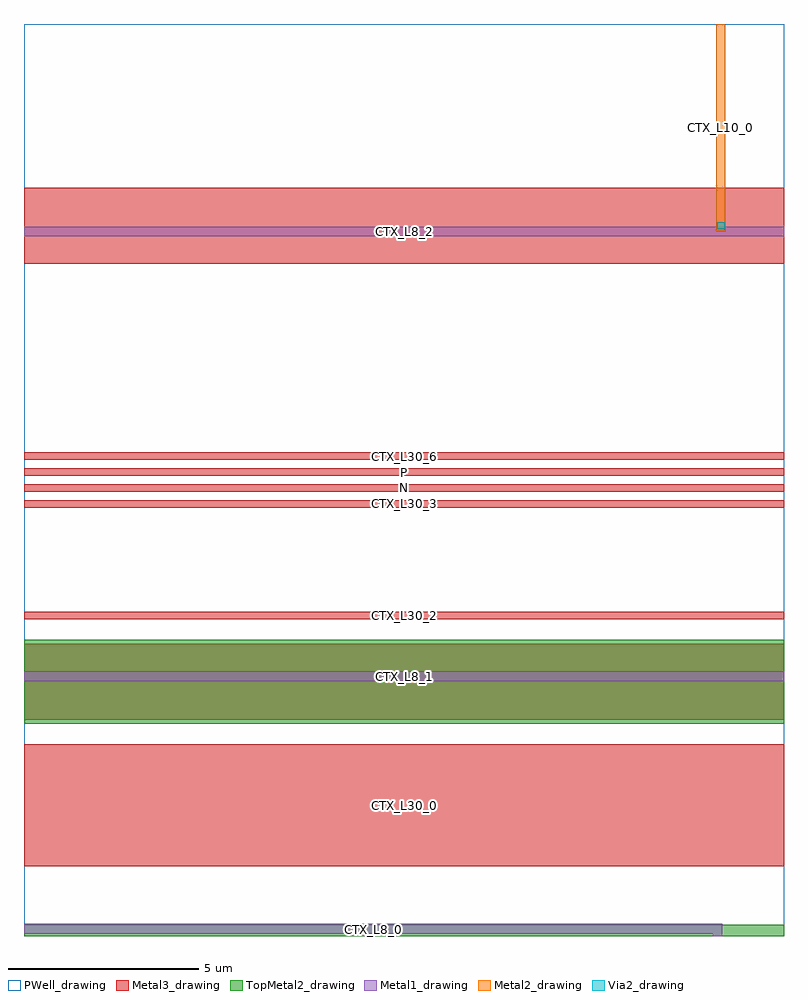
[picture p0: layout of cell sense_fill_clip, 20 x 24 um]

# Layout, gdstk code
import gdstk
lib = gdstk.Library(unit=1e-6, precision=1e-09)
def R(c, l, rs):  # rectangles x0, y0, x1, y1
    for r in rs: c.add(gdstk.rectangle(r[:2], r[2:], *l))
def A(c, l, x, y, w, h, nx, ny, dx, dy):  # array of equal rectangles
    R(c, l, [(x+i*dx, y+j*dy, x+i*dx+w, y+j*dy+h) for i in range(nx) for j in range(ny)])
def P(c, l, *ps):  # polygons
    for p in ps: c.add(gdstk.Polygon(p, *l))
Metal1_drawing = (8, 0)
Metal2_drawing = (10, 0)
Via2_drawing = (29, 0)
Metal3_drawing = (30, 0)
PWell_drawing = (46, 0)
TopMetal2_drawing = (134, 0)

sense_fill_clip = lib.new_cell('sense_fill_clip')
R(sense_fill_clip, Metal1_drawing, [(844.16,942.02,864.16,942.28), (844.16,953.72,864.16,953.98)])
P(sense_fill_clip, Metal1_drawing, [(862.28,935.31),(862.28,935.37),(844.16,935.37),(844.16,935.63),(862.54,935.63),(862.54,935.31)])
R(sense_fill_clip, Metal2_drawing, [(862.38,953.85,862.62,959.31)])
R(sense_fill_clip, Via2_drawing, [(862.405,953.905,862.595,954.095)])
A(sense_fill_clip, Metal3_drawing, 844.16, 946.58, 20, 0.2, 1, 4, 0, 0.42)
R(sense_fill_clip, Metal3_drawing, [(844.16,937.15,864.16,940.35), (844.16,941,864.16,943), (844.16,943.64,864.16,943.84), (844.16,953,864.16,955)])
R(sense_fill_clip, PWell_drawing, [(844.16,935.31,864.16,959.31), (844.16,935.31,864.16,959.31)])
R(sense_fill_clip, TopMetal2_drawing, [(844.16,935.31,864.16,935.6), (844.16,940.9,864.16,943.1)])
sense_fill_clip.add(gdstk.Label('CTX_L8_2', (854.16,953.85), layer=8, texttype=25))
sense_fill_clip.add(gdstk.Label('CTX_L8_1', (854.16,942.15), layer=8, texttype=25))
sense_fill_clip.add(gdstk.Label('CTX_L8_0', (853.35,935.47), layer=8, texttype=25))
sense_fill_clip.add(gdstk.Label('CTX_L10_0', (862.5,956.58), layer=10, texttype=25))
sense_fill_clip.add(gdstk.Label('CTX_L30_6', (854.16,947.94), layer=30, texttype=25))
sense_fill_clip.add(gdstk.Label('P', (854.16,947.52), layer=30, texttype=25))
sense_fill_clip.add(gdstk.Label('N', (854.16,947.1), layer=30, texttype=25))
sense_fill_clip.add(gdstk.Label('CTX_L30_2', (854.16,943.74), layer=30, texttype=25))
sense_fill_clip.add(gdstk.Label('CTX_L30_3', (854.16,946.68), layer=30, texttype=25))
sense_fill_clip.add(gdstk.Label('CTX_L30_1', (854.16,942), layer=30, texttype=25))
sense_fill_clip.add(gdstk.Label('CTX_L30_0', (854.16,938.75), layer=30, texttype=25))
sense_fill_clip.add(gdstk.Label('CTX_L30_7', (854.16,954), layer=30, texttype=25))
sense_fill_clip.add(gdstk.Label('CTX_L134_1', (854.16,942), layer=134, texttype=25))
sense_fill_clip.add(gdstk.Label('CTX_L134_0', (854.16,935.455), layer=134, texttype=25))

lib.write_gds('sense_fill_clip.gds')
